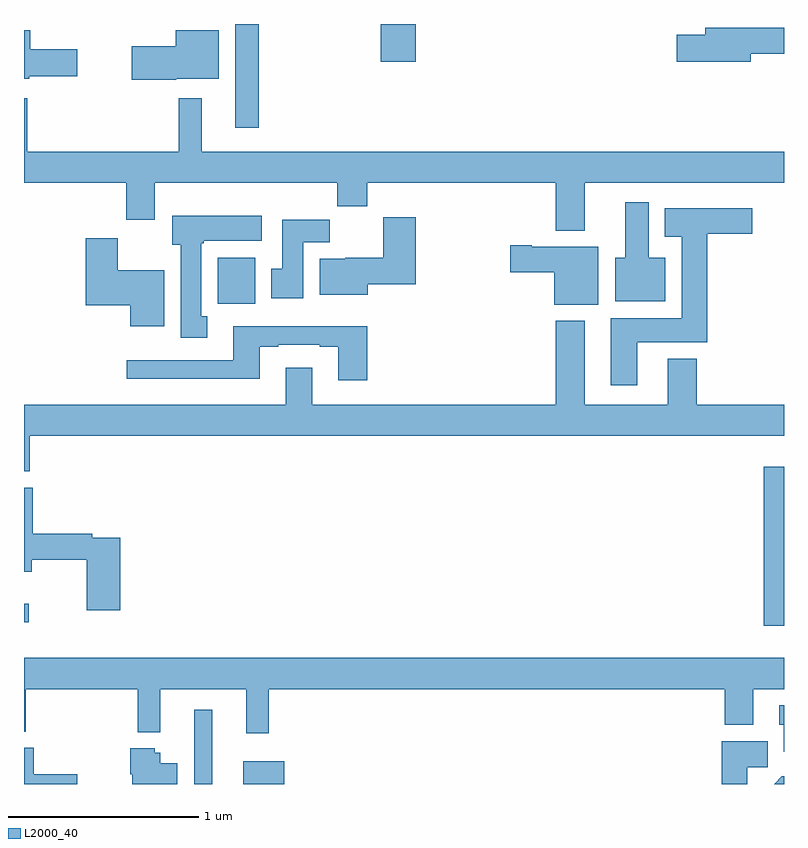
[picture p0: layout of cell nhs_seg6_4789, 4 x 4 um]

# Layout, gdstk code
import gdstk
lib = gdstk.Library(unit=1e-6, precision=1e-09)
def R(c, l, rs):  # rectangles x0, y0, x1, y1
    for r in rs: c.add(gdstk.rectangle(r[:2], r[2:], *l))
def P(c, l, *ps):  # polygons
    for p in ps: c.add(gdstk.Polygon(p, *l))
L2000_40 = (2000, 40)

nhs_seg6_4789 = lib.new_cell('nhs_seg6_4789')
R(nhs_seg6_4789, L2000_40, [(395.895,949.5,395.992,949.891), (396.155,949.5,396.37,949.621), (398.894,950.334,399,951.169), (395,950.352,395.026,950.448), (396.02,952.028,396.217,952.27), (396.113,952.953,396.235,953.5), (396.878,953.301,397.061,953.5)])
P(nhs_seg6_4789, L2000_40, [(398.824,953.344),(399,953.344),(399,953.48),(398.585,953.48),(398.585,953.444),(398.436,953.444),(398.436,953.302),(398.824,953.302)],
  [(395.802,953.213),(396.025,953.213),(396.025,953.467),(395.798,953.467),(395.798,953.384),(395.568,953.384),(395.568,953.206),(395.802,953.206)],
  [(395.028,953.224),(395.281,953.224),(395.281,953.366),(395.032,953.366),(395.032,953.467),(395,953.467),(395,953.213),(395.028,953.213)],
  [(397.951,952.664),(399,952.664),(399,952.828),(395.935,952.828),(395.935,953.11),(395.814,953.11),(395.814,952.828),(395.017,952.828),(395.017,953.11),(395,953.11),(395,952.664),(395.537,952.664),(395.537,952.47),(395.689,952.47),(395.689,952.664),(396.649,952.664),(396.649,952.54),(396.806,952.54),(396.806,952.664),(397.799,952.664),(397.799,952.412),(397.951,952.412)],
  [(398.374,952.27),(398.287,952.27),(398.287,952.561),(398.165,952.561),(398.165,952.27),(398.111,952.27),(398.111,952.04),(398.374,952.04)],
  [(398.227,951.824),(398.597,951.824),(398.597,952.397),(398.833,952.397),(398.833,952.531),(398.372,952.531),(398.372,952.379),(398.462,952.379),(398.462,951.952),(398.087,951.952),(398.087,951.6),(398.227,951.6)],
  [(395.965,951.962),(395.932,951.962),(395.932,952.345),(395.946,952.345),(395.946,952.358),(396.25,952.358),(396.25,952.492),(395.78,952.492),(395.78,952.338),(395.825,952.338),(395.825,951.849),(395.965,951.849)],
  [(396.808,952.13),(397.061,952.13),(397.061,952.483),(396.89,952.483),(396.89,952.27),(396.69,952.27),(396.69,952.264),(396.557,952.264),(396.557,952.076),(396.808,952.076)],
  [(396.469,952.352),(396.608,952.352),(396.608,952.471),(396.359,952.471),(396.359,952.212),(396.302,952.212),(396.302,952.056),(396.469,952.056)],
  [(395.737,952.204),(395.494,952.204),(395.494,952.372),(395.324,952.372),(395.324,952.019),(395.558,952.019),(395.558,951.908),(395.737,951.908)],
  [(398.023,952.327),(397.672,952.327),(397.672,952.335),(397.56,952.335),(397.56,952.193),(397.79,952.193),(397.79,952.022),(398.023,952.022)],
  [(395.03,951.332),(399,951.332),(399,951.496),(398.54,951.496),(398.54,951.739),(398.387,951.739),(398.387,951.496),(397.951,951.496),(397.951,951.937),(397.799,951.937),(397.799,951.496),(396.517,951.496),(396.517,951.691),(396.377,951.691),(396.377,951.496),(395,951.496),(395,951.145),(395.03,951.145)],
  [(396.806,951.91),(396.101,951.91),(396.101,951.729),(395.541,951.729),(395.541,951.632),(396.241,951.632),(396.241,951.801),(396.337,951.801),(396.337,951.813),(396.557,951.813),(396.557,951.801),(396.653,951.801),(396.653,951.624),(396.806,951.624)],
  [(395.507,950.796),(395.36,950.796),(395.36,950.816),(395.045,950.816),(395.045,951.06),(395,951.06),(395,950.616),(395.04,950.616),(395.04,950.68),(395.329,950.68),(395.329,950.415),(395.507,950.415)],
  [(396.287,950),(398.687,950),(398.687,949.811),(398.839,949.811),(398.839,950),(399,950),(399,950.164),(395,950.164),(395,949.775),(395.009,949.775),(395.009,950),(395.599,950),(395.599,949.772),(395.717,949.772),(395.717,950),(396.17,950),(396.17,949.767),(396.287,949.767)],
  [(399,949.915),(398.975,949.915),(398.975,949.812),(398.999,949.812),(398.999,949.67),(399,949.67)],
  [(398.806,949.587),(398.914,949.587),(398.914,949.726),(398.672,949.726),(398.672,949.5),(398.806,949.5)],
  [(395.281,949.551),(395.051,949.551),(395.051,949.69),(395,949.69),(395,949.5),(395.281,949.5)],
  [(395.806,949.609),(395.716,949.609),(395.716,949.665),(395.688,949.665),(395.688,949.687),(395.558,949.687),(395.558,949.551),(395.57,949.551),(395.57,949.5),(395.806,949.5)],
  [(399,949.54),(398.989,949.54),(398.949,949.5),(399,949.5)])

lib.write_gds('nhs_seg6_4789.gds')
